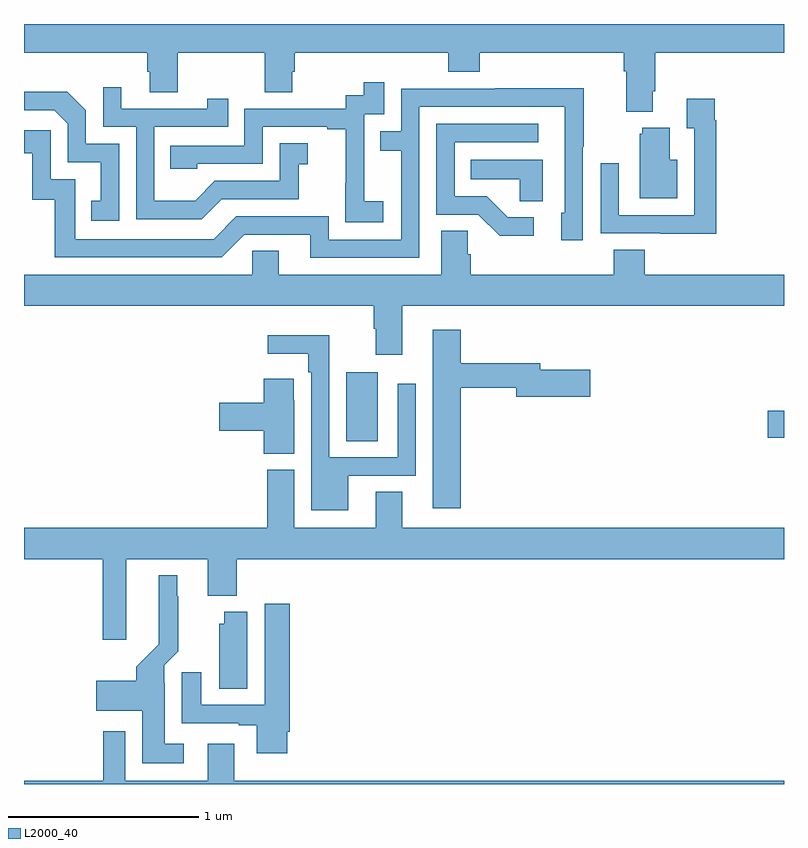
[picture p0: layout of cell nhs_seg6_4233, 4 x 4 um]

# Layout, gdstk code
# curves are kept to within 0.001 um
import gdstk
lib = gdstk.Library(unit=1e-6, precision=1e-09)
def R(c, l, rs):  # rectangles x0, y0, x1, y1
    for r in rs: c.add(gdstk.rectangle(r[:2], r[2:], *l))
def P(c, l, *ps):  # polygons
    for p in ps: c.add(gdstk.Polygon(p, *l))
L2000_40 = (2000, 40)

nhs_seg6_4233 = lib.new_cell('nhs_seg6_4233')
R(nhs_seg6_4233, L2000_40, [(362.696,933.304,362.863,933.667), (364.914,933.322,365,933.464)])
P(nhs_seg6_4233, L2000_40, [(364.309,935.146),(364.322,935.146),(364.322,935.348),(365,935.348),(365,935.5),(361,935.5),(361,935.348),(361.649,935.348),(361.649,935.25),(361.661,935.25),(361.661,935.14),(361.809,935.14),(361.809,935.348),(362.266,935.348),(362.266,935.14),(362.413,935.14),(362.413,935.25),(362.426,935.25),(362.426,935.348),(363.233,935.348),(363.233,935.249),(363.398,935.249),(363.398,935.348),(364.157,935.348),(364.157,935.252),(364.169,935.252),(364.169,935.039),(364.309,935.039)],
  [(362.89,934.567),(362.792,934.567),(362.792,934.796),(362.79,934.796),(362.79,935.025),(362.895,935.025),(362.895,935.194),(362.787,935.194),(362.787,935.124),(362.694,935.124),(362.694,935.055),(362.16,935.055),(362.16,934.86),(361.771,934.86),(361.771,934.737),(361.911,934.737),(361.911,934.764),(362.256,934.764),(362.256,934.959),(362.597,934.959),(362.597,934.947),(362.693,934.947),(362.693,934.663),(362.692,934.663),(362.692,934.457),(362.89,934.457)],
  [(362.041,934.578),(362.445,934.578),(362.445,934.763),(362.494,934.763),(362.494,934.873),(362.346,934.873),(362.346,934.674),(362.004,934.674),(361.9,934.57),(361.686,934.57),(361.686,934.959),(362.075,934.959),(362.075,935.107),(361.964,935.107),(361.964,935.055),(361.513,935.055),(361.513,935.167),(361.416,935.167),(361.416,934.959),(361.59,934.959),(361.59,934.473),(361.936,934.473)],
  [(363.081,935.064),(363.846,935.064),(363.846,934.506),(363.827,934.506),(363.827,934.362),(363.942,934.362),(363.942,934.855),(363.945,934.855),(363.945,935.162),(363.481,935.162),(363.481,935.16),(362.985,935.16),(362.985,934.935),(362.875,934.935),(362.875,934.834),(362.985,934.834),(362.985,934.365),(362.604,934.365),(362.604,934.488),(362.118,934.488),(361.998,934.368),(361.269,934.368),(361.269,934.683),(361.14,934.683),(361.14,934.942),(361,934.942),(361,934.821),(361.043,934.821),(361.043,934.575),(361.161,934.575),(361.161,934.272),(362.04,934.272),(362.16,934.392),(362.507,934.392),(362.507,934.269),(363.081,934.269)],
  [(361.5,934.869),(361.326,934.869),(361.326,935.046),(361.228,935.144),(361,935.144),(361,935.046),(361.158,935.046),(361.23,934.974),(361.23,934.773),(361.403,934.773),(361.403,934.569),(361.354,934.569),(361.354,934.464),(361.5,934.464)],
  [(364.643,934.994),(364.636,934.994),(364.636,935.107),(364.487,935.107),(364.487,934.951),(364.527,934.951),(364.527,934.494),(364.131,934.494),(364.131,934.768),(364.035,934.768),(364.035,934.398),(364.351,934.398),(364.351,934.397),(364.643,934.397)],
  [(363.682,934.482),(363.547,934.482),(363.436,934.593),(363.267,934.593),(363.267,934.878),(363.706,934.878),(363.706,934.974),(363.171,934.974),(363.171,934.497),(363.39,934.497),(363.503,934.385),(363.682,934.385)],
  [(364.438,934.786),(364.399,934.786),(364.399,934.954),(364.253,934.954),(364.253,934.923),(364.241,934.923),(364.241,934.583),(364.438,934.583)],
  [(363.73,934.786),(363.352,934.786),(363.352,934.682),(363.609,934.682),(363.609,934.567),(363.73,934.567)],
  [(362.992,934.016),(365,934.016),(365,934.18),(364.268,934.18),(364.268,934.313),(364.103,934.313),(364.103,934.18),(363.35,934.18),(363.35,934.289),(363.336,934.289),(363.336,934.412),(363.197,934.412),(363.197,934.18),(362.341,934.18),(362.341,934.307),(362.202,934.307),(362.202,934.18),(361,934.18),(361,934.016),(362.84,934.016),(362.84,933.896),(362.852,933.896),(362.852,933.759),(362.992,933.759)],
  [(363.299,933.586),(363.59,933.586),(363.59,933.539),(363.979,933.539),(363.979,933.681),(363.718,933.681),(363.718,933.715),(363.299,933.715),(363.299,933.892),(363.152,933.892),(363.152,932.952),(363.299,932.952)],
  [(362.707,933.123),(363.063,933.123),(363.063,933.607),(362.967,933.607),(362.967,933.219),(362.607,933.219),(362.607,933.862),(362.283,933.862),(362.283,933.764),(362.495,933.764),(362.495,933.668),(362.511,933.668),(362.511,932.942),(362.707,932.942)],
  [(362.422,933.521),(362.421,933.521),(362.421,933.634),(362.261,933.634),(362.261,933.506),(362.028,933.506),(362.028,933.359),(362.261,933.359),(362.261,933.238),(362.422,933.238)],
  [(361.537,932.684),(361.967,932.684),(361.967,932.492),(362.12,932.492),(362.12,932.684),(365,932.684),(365,932.848),(362.992,932.848),(362.992,933.038),(362.852,933.038),(362.852,932.848),(362.422,932.848),(362.422,933.153),(362.279,933.153),(362.279,932.848),(361,932.848),(361,932.684),(361.415,932.684),(361.415,932.259),(361.537,932.259)],
  [(361.84,931.711),(361.741,931.711),(361.741,932.03),(361.737,932.03),(361.737,932.124),(361.811,932.198),(361.811,932.489),(361.807,932.489),(361.807,932.599),(361.709,932.599),(361.71,932.236),(361.592,932.118),(361.592,932.044),(361.38,932.044),(361.38,931.886),(361.622,931.886),(361.622,931.61),(361.84,931.61)],
  [(362.386,931.774),(362.399,931.774),(362.399,932.449),(362.267,932.449),(362.267,931.917),(361.933,931.917),(361.933,932.089),(361.829,932.089),(361.829,931.821),(362.129,931.821),(362.129,931.809),(362.225,931.809),(362.225,931.662),(362.386,931.662)],
  [(362.176,932.407),(362.054,932.407),(362.054,932.343),(362.027,932.343),(362.027,932.002),(362.176,932.002)],
  [(365,931.516),(362.107,931.516),(362.107,931.711),(361.967,931.711),(361.967,931.516),(361.533,931.516),(361.533,931.777),(361.417,931.777),(361.417,931.516),(361,931.516),(361,931.5),(365,931.5)])

lib.write_gds('nhs_seg6_4233.gds')
